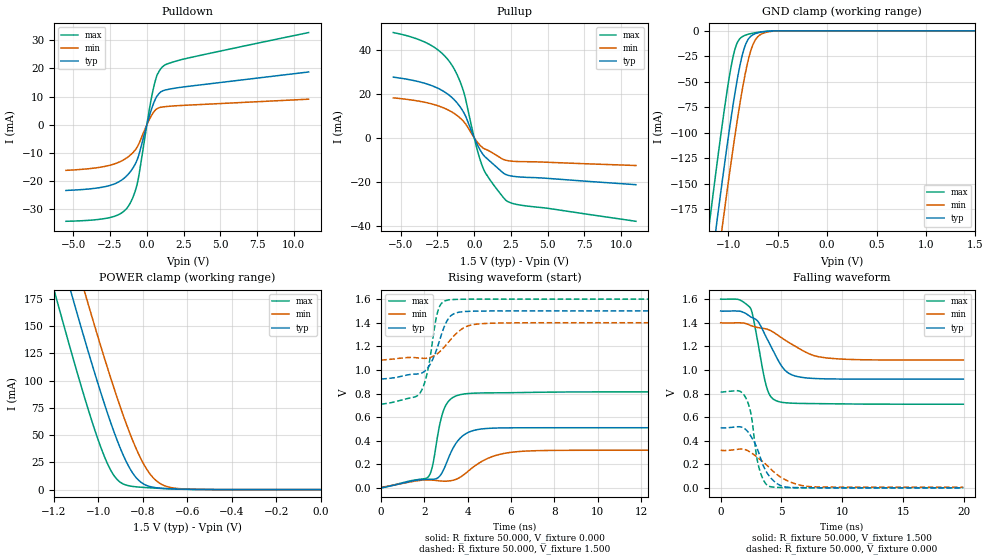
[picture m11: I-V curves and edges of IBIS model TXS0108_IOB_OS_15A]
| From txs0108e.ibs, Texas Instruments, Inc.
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[Model]   TXS0108_IOB_OS_15A
Model_type  I/O
Vinl=0.15
Vinh=1.4
Enable   Active-Low
Vref =   0
Rref =   1000000
Cref =   15p
Vmeas =   0.75
| variable   typ   min   max
C_comp   4.39pF   4.00pF   4.63pF
| C_pullup   4.93pF   3.67pF   5.64pF
| C_pulldown   5.22pF   4.39pF   6.15pF
| C_tri-state   4.39pF   4.00pF   4.63pF
[Temperature Range]   40   100   -40
| Ambient temperature   25   85   -40
[Voltage range]   1.5   1.4   1.6
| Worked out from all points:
|   slope of the pulldown table from 0 to 0.225 V, typ, clamps not added: 55.2 ohm
|   slope of the pullup table from 0 to 0.225 V, typ, clamps not added: 68.1 ohm
|   GND clamp passes 1 mA (typ) near -0.65 V on its own axis
|   POWER clamp passes 1 mA (typ) near -0.70 V on its own axis
|   rising waveform, R_fixture 50.000, V_fixture 0.000: 20-80 % time 868ps typ, 1.62ns min, 530ps max; typ from 0.001 V to 0.51 V
|   falling waveform, R_fixture 50.000, V_fixture 1.500: 20-80 % time 1.76ns typ, 3.02ns min, 974ps max; typ from 1.5 V to 0.922 V
|   rising waveform, R_fixture 50.000, V_fixture 1.500: 20-80 % time 730ps typ, 988ps min, 523ps max; typ from 0.922 V to 1.5 V
|   falling waveform, R_fixture 50.000, V_fixture 0.000: 20-80 % time 1.33ns typ, 2.28ns min, 728ps max; typ from 0.51 V to 0.001 V
[GND Clamp]
| TXS0108_IOB_OS_15A
|   Voltage   I(typ)   I(min)   I(max)
-5.5V     -3.818A    -3.833A    -3.807A
-1.205V   -255mA     -299.8mA   -199.4mA
-1.18V    -235.8mA   -280.7mA   -180mA
-1.115V   -186.7mA   -231.8mA   -130.7mA
-1.065V   -150mA     -194.9mA   -94.41mA
-1.05V    -139.2mA   -184mA     -83.92mA
-950mV    -71.54mA   -114.1mA   -24.72mA
-910mV    -48.06mA   -88.14mA   -11.83mA
-860mV    -24.39mA   -58.43mA   -5.842mA
-775mV    -5.568mA   -20.26mA   -2.759mA
-685mV    -1.595mA   -4.339mA   -1.242mA
1.5V      61.63pA    3.53nA     45.17pA
[POWER Clamp]
| TXS0108_IOB_OS_15A
|   Voltage   I(typ)   I(min)   I(max)
-5.5V     3.692A     3.704A     3.7A
-1.2V     237.8mA    281.5mA    184.1mA
-1.175V   219.3mA    263.1mA    165.5mA
-1.11V    172.1mA    216mA      118.1mA
-1.06V    136.8mA    180.5mA    83.33mA
-980mV    83.42mA    125.7mA    34.17mA
-925mV    50.55mA    90.34mA    11.63mA
-835mV    12.28mA    40.05mA    2.674mA
-785mV    4.005mA    19.62mA    1.857mA
-740mV    1.718mA    8.258mA    1.311mA
-620mV    423.7uA    670.1uA    303.8uA
0V        0A         0A         0A
[Pulldown]
| TXS0108_IOB_OS_15A
|   Voltage   I(typ)   I(min)   I(max)
-5.5V     -23.35mA   -16.22mA   -34.32mA
-2.435V   -21.46mA   -14.3mA    -32.9mA
-1.71V    -19.65mA   -12.85mA   -31.32mA
-1.22V    -17.33mA   -11.19mA   -28.66mA
-880mV    -14.83mA   -9.535mA   -24.9mA
-620mV    -11.93mA   -7.602mA   -20.21mA
165mV     3.012mA    1.814mA    5.257mA
520mV     8.384mA    4.854mA    14.51mA
730mV     10.41mA    5.784mA    18.07mA
1.14V     12.17mA    6.363mA    20.91mA
2.65V     13.53mA    6.926mA    23.52mA
11V       18.75mA    9.078mA    32.75mA
[Pullup]
| TXS0108_IOB_OS_15A
|   Voltage   I(typ)   I(min)   I(max)
-5.5V     27.59mA    18.16mA    47.91mA
-3.07V    24.17mA    15.7mA     42.61mA
-2.22V    21.67mA    13.97mA    38.64mA
-1.57V    18.64mA    11.92mA    33.63mA
-1.115V   15.46mA    9.864mA    28.03mA
-725mV    11.63mA    7.419mA    21.12mA
115mV     -1.746mA   -1.099mA   -3.133mA
590mV     -7.543mA   -4.601mA   -13.56mA
1.17V     -11.29mA   -6.609mA   -20.09mA
2.19V     -16.86mA   -10.32mA   -28.69mA
3.17V     -17.92mA   -10.9mA    -30.73mA
11V       -21.41mA   -12.66mA   -38.08mA
[Ramp]
| TXS0108_IOB_OS_15A
| variable   typ   min   max
dV/dt_r   0.31/8.70E-10   0.19/1.62E-09   0.49/5.39E-10
dV/dt_f   0.35/1.76E-09   0.19/3.03E-09   0.53/9.76E-10
R_load = 50
[Rising Waveform]
R_fixture = 50.000
V_fixture = 0.000
V_fixture_min = 0.000
V_fixture_max = 0.000
C_fixture = 0.000
L_fixture = 0.000
|  time   V(typ)   V(min)   V(max)
0s        880.4uV    5.972mV    1.1mV
2.17ns    73.44mV    67.54mV    92.58mV
2.365ns   73.16mV    66.12mV    181.4mV
2.695ns   98.76mV    60mV       528.5mV
2.895ns   159.2mV    57.65mV    663.4mV
3.185ns   286.3mV    60.71mV    749mV
3.66ns    424.1mV    92.14mV    790.8mV
4.95ns    504.9mV    252.7mV    805.7mV
6.39ns    510mV      309.2mV    808.2mV
19.96ns   510.4mV    319.7mV    813.9mV
[Falling Waveform]
R_fixture = 50.000
V_fixture = 1.500
V_fixture_min = 1.400
V_fixture_max = 1.600
C_fixture = 0.000
L_fixture = 0.000
|  time   V(typ)   V(min)   V(max)
0s        1.5V       1.4V       1.6V
1.55ns    1.498V     1.399V     1.594V
2.465ns   1.45V      1.377V     1.521V
3.065ns   1.411V     1.359V     1.231V
3.75ns    1.277V     1.347V     866mV
4.565ns   1.113V     1.304V     739.2mV
5.485ns   979.9mV    1.241V     720.7mV
6.855ns   934.6mV    1.158V     715.9mV
9.755ns   923.1mV    1.093V     712.5mV
19.96ns   922.3mV    1.084V     709.6mV
[Rising Waveform]
R_fixture = 50.000
V_fixture = 1.500
V_fixture_min = 1.400
V_fixture_max = 1.600
C_fixture = 0.000
L_fixture = 0.000
|  time   V(typ)   V(min)   V(max)
0s        922.3mV    1.084V     709.5mV
1.815ns   970mV      1.1V       810.4mV
2.155ns   1.018V     1.101V     997.6mV
2.49ns    1.137V     1.125V     1.39V
2.615ns   1.202V     1.14V      1.496V
2.78ns    1.298V     1.167V     1.563V
3.08ns    1.427V     1.229V     1.592V
3.91ns    1.496V     1.366V     1.599V
4.75ns    1.499V     1.393V     1.6V
19.96ns   1.5V       1.4V       1.6V
[Falling Waveform]
R_fixture = 50.000
V_fixture = 0.000
V_fixture_min = 0.000
V_fixture_max = 0.000
C_fixture = 0.000
L_fixture = 0.000
|  time   V(typ)   V(min)   V(max)
0s        510.5mV    319.7mV    813.9mV
1.49ns    518.9mV    328.5mV    822.8mV
2.08ns    493.6mV    322.5mV    760.9mV
2.505ns   435.1mV    297.6mV    622.1mV
2.915ns   357mV      268.2mV    295mV
3.15ns    292.6mV    248.9mV    172.6mV
3.965ns   105.5mV    176.7mV    14.54mV
5.095ns   13.61mV    82.06mV    3.219mV
7.17ns    2.07mV     13.11mV    1.277mV
19.96ns   880.6uV    5.972mV    1.1mV
